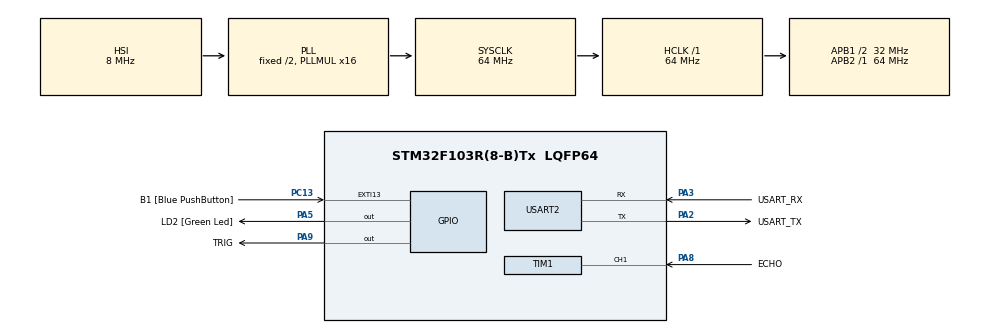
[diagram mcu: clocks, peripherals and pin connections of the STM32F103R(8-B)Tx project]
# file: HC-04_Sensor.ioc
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Mcu.Family=STM32F1
PC15-OSC32_OUT.Mode=LSE-External-Oscillator
PA2.GPIO_PuPd=GPIO_NOPULL
PD1-OSC_OUT.Mode=HSE-External-Clock-Source
PA9.GPIO_Label=TRIG
PA14.GPIO_Label=TCK
PA3.GPIO_PuPd=GPIO_NOPULL
PA2.GPIO_Speed=GPIO_SPEED_FREQ_LOW
PC13-TAMPER-RTC.Signal=GPXTI13
NVIC.TIM1_UP_IRQn=true\:0\:0\:false\:false\:true\:true\:true
PD0-OSC_IN.Signal=RCC_OSC_IN
RCC.APB1CLKDivider=RCC_HCLK_DIV2
PC14-OSC32_IN.Signal=RCC_OSC32_IN
PA3.GPIO_Speed=GPIO_SPEED_FREQ_LOW
NVIC.USART2_IRQn=true\:0\:0\:false\:false\:true\:true\:true
RCC.SYSCLKSource=RCC_SYSCLKSOURCE_PLLCLK
ProjectManager.StackSize=0x400
PD1-OSC_OUT.Signal=RCC_OSC_OUT
PA3.Mode=Asynchronous
PA13.Signal=SYS_JTMS-SWDIO
PA8.GPIO_Label=ECHO
TIM1.Prescaler=64
SH.S_TIM1_CH1.0=TIM1_CH1,Input_Capture1_from_TI1
SH.S_TIM1_CH1.1=TIM1_CH1,Input_Capture2_from_TI1
ProjectManager.TargetToolchain=STM32CubeIDE
PA3.GPIO_Mode=GPIO_MODE_AF_PP
RCC.HCLKFreq_Value=64000000
RCC.APB2TimFreq_Value=64000000
PA9.Signal=GPIO_Output
RCC.USBFreq_Value=64000000
PC15-OSC32_OUT.Signal=RCC_OSC32_OUT
RCC.AHBFreq_Value=64000000
PD0-OSC_IN.Mode=HSE-External-Clock-Source
NVIC.EXTI15_10_IRQn=true\:0\:0\:false\:false\:true\:true\:true
PA5.Signal=GPIO_Output
board=NUCLEO-F103RB
RCC.RTCClockSelection=RCC_RTCCLKSOURCE_LSE
PC13-TAMPER-RTC.GPIO_Label=B1 [Blue PushButton]
RCC.PLLMUL=RCC_PLL_MUL16
NVIC.TIM3_IRQn=true\:0\:0\:false\:false\:true\:true\:true
RCC.APB2Freq_Value=64000000
PC14-OSC32_IN.Mode=LSE-External-Oscillator
PA5.GPIO_ModeDefaultOutputPP=GPIO_MODE_OUTPUT_PP
PA14.Mode=Serial_Wire
TIM3.Prescaler=64
PA5.GPIO_PuPd=GPIO_NOPULL
PA8.Signal=S_TIM1_CH1
PA13.Mode=Serial_Wire
TIM1.Channel-Input_Capture2_from_TI1=TIM_CHANNEL_2
Mcu.Name=STM32F103R(8-B)Tx
VP_TIM1_VS_ClockSourceINT.Mode=Internal
PA2.Signal=USART2_TX
PA13.GPIO_Label=TMS
NVIC.TIM1_CC_IRQn=true\:0\:0\:false\:true\:true\:1\:true\:true
PB3.Signal=SYS_JTDO-TRACESWO
RCC.SYSCLKFreq_VALUE=64000000
Mcu.Package=LQFP64
PA5.GPIO_Label=LD2 [Green Led]
USART2.VirtualMode=VM_ASYNC
TIM1.Channel-Input_Capture1_from_TI1=TIM_CHANNEL_1
PC13-TAMPER-RTC.GPIO_PuPd=GPIO_NOPULL
PA2.GPIO_Label=USART_TX
PA14.Signal=SYS_JTCK-SWCLK
ProjectManager.HeapSize=0x200
PA5.GPIO_Speed=GPIO_SPEED_FREQ_LOW
NVIC.PriorityGroup=NVIC_PRIORITYGROUP_4
TIM1.ICPolarity_CH2=TIM_INPUTCHANNELPOLARITY_FALLING
RCC.APB1TimFreq_Value=64000000
PA9.GPIO_Speed=GPIO_SPEED_FREQ_MEDIUM
PA2.Mode=Asynchronous
RCC.APB1Freq_Value=32000000
VP_TIM3_VS_ClockSourceINT.Mode=Internal
PA3.GPIO_Label=USART_RX
PA3.Signal=USART2_RX
PA2.GPIO_Mode=GPIO_MODE_AF_PP
PB3.GPIO_Label=SWO

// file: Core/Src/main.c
/* USER CODE BEGIN Header */
/**
  ******************************************************************************
  * @file           : main.c
  * @brief          : Main program body
  ******************************************************************************
  * @attention
  *
  * <h2><center>&copy; Copyright (c) 2021 STMicroelectronics.
  * All rights reserved.</center></h2>
  *
  * This software component is licensed by ST under BSD 3-Clause license,
  * the "License"; You may not use this file except in compliance with the
  * License. You may obtain a copy of the License at:
  *                        opensource.org/licenses/BSD-3-Clause
  *
  ******************************************************************************
  */
/* USER CODE END Header */
#include "main.h"
#include "tim.h"
#include "usart.h"
#include "gpio.h"

/* USER CODE BEGIN Includes */
#include "stdio.h"
#include "string.h"
#include "hc_sr04.h"
/* USER CODE END Includes */

/* USER CODE BEGIN PV */
 uint8_t sensor_distance[32];

/* USER CODE END PV */

void SystemClock_Config(void);
static void MX_NVIC_Init(void);
/* USER CODE BEGIN PFP */
void UartLog(char *message);
/* USER CODE END PFP */

int main(void)
{

  /* MCU Configuration--------------------------------------------------------*/

  /* Reset of all peripherals, Initializes the Flash interface and the Systick. */
  HAL_Init();

  /* Configure the system clock */
  SystemClock_Config();

  /* Initialize all configured peripherals */
  MX_GPIO_Init();
  MX_USART2_UART_Init();
  MX_TIM1_Init();
  MX_TIM3_Init();

  /* Initialize interrupts */
  MX_NVIC_Init();
  /* USER CODE BEGIN 2 */
  uint8_t distance=0;
  /* USER CODE END 2 */

  /* Infinite loop */
  /* USER CODE BEGIN WHILE */
  while (1)
  {
	  distance = HCSR04_get_distance_cm();
	  sprintf((char*)&sensor_distance, "Distance:%d cm\n\r", distance);
  	  HAL_UART_Transmit(&huart2, &sensor_distance, sizeof(sensor_distance), 1000);
	  HAL_Delay(1000);
    /* USER CODE END WHILE */

  }
}

void SystemClock_Config(void)
{
  RCC_OscInitTypeDef RCC_OscInitStruct = {0};
  RCC_ClkInitTypeDef RCC_ClkInitStruct = {0};

  /** Initializes the RCC Oscillators according to the specified parameters
  * in the RCC_OscInitTypeDef structure.
  */
  RCC_OscInitStruct.OscillatorType = RCC_OSCILLATORTYPE_HSI;
  RCC_OscInitStruct.HSIState = RCC_HSI_ON;
  RCC_OscInitStruct.HSICalibrationValue = RCC_HSICALIBRATION_DEFAULT;
  RCC_OscInitStruct.PLL.PLLState = RCC_PLL_ON;
  RCC_OscInitStruct.PLL.PLLSource = RCC_PLLSOURCE_HSI_DIV2;
  RCC_OscInitStruct.PLL.PLLMUL = RCC_PLL_MUL16;
  if (HAL_RCC_OscConfig(&RCC_OscInitStruct) != HAL_OK)
  {
    Error_Handler();
  }
  /** Initializes the CPU, AHB and APB buses clocks
  */
  RCC_ClkInitStruct.ClockType = RCC_CLOCKTYPE_HCLK|RCC_CLOCKTYPE_SYSCLK
                              |RCC_CLOCKTYPE_PCLK1|RCC_CLOCKTYPE_PCLK2;
  RCC_ClkInitStruct.SYSCLKSource = RCC_SYSCLKSOURCE_PLLCLK;
  RCC_ClkInitStruct.AHBCLKDivider = RCC_SYSCLK_DIV1;
  RCC_ClkInitStruct.APB1CLKDivider = RCC_HCLK_DIV2;
  RCC_ClkInitStruct.APB2CLKDivider = RCC_HCLK_DIV1;

  if (HAL_RCC_ClockConfig(&RCC_ClkInitStruct, FLASH_LATENCY_2) != HAL_OK)
  {
    Error_Handler();
  }
}

/**
  * @brief NVIC Configuration.
  * @retval None
  */
static void MX_NVIC_Init(void)
{
  /* TIM1_CC_IRQn interrupt configuration */
  HAL_NVIC_SetPriority(TIM1_CC_IRQn, 0, 0);
  HAL_NVIC_EnableIRQ(TIM1_CC_IRQn);
}

/* USER CODE BEGIN 4 */
void HAL_TIM_IC_CaptureCallback(TIM_HandleTypeDef *htim)
{
	if(htim == TIMER_IC)
	{
		if(htim->Channel == HAL_TIM_ACTIVE_CHANNEL_1)
		{
			IC_RisingEdge = __HAL_TIM_GET_COMPARE(TIMER_IC, TIM_CHANNEL_1);
			HAL_TIM_IC_Start_IT(TIMER_IC, TIM_CHANNEL_1);

		}

		else if(htim->Channel == HAL_TIM_ACTIVE_CHANNEL_2)
		{
			pulse_time = __HAL_TIM_GET_COMPARE(TIMER_IC, TIM_CHANNEL_2) - IC_RisingEdge;
			measure_flag = 0;
			HAL_TIM_IC_Start_IT(TIMER_IC, TIM_CHANNEL_2);

		}

	}
}

void UartLog(char *message)
{
	HAL_UART_Transmit(&huart2,(uint8_t*)message, strlen(message), 1000);

}
/* USER CODE END 4 */

void Error_Handler(void)
{
  __disable_irq();
  while (1)
  {
  }
}

/************************ (C) COPYRIGHT STMicroelectronics *****END OF FILE****/
